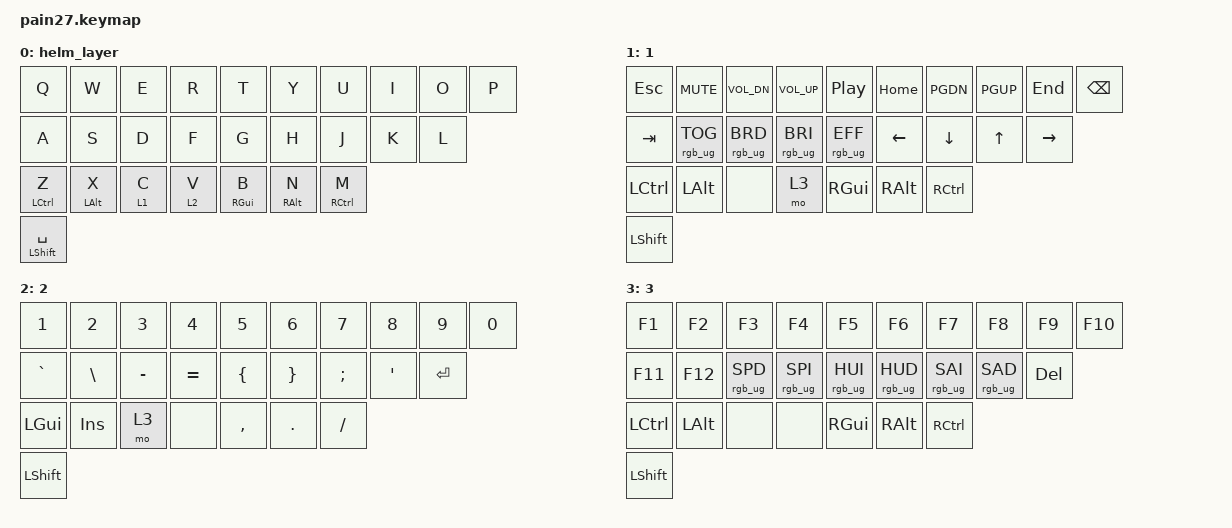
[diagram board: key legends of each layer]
#include "../../../key-labels/27.h"
#include "../../../base.keymap"

#include <dt-bindings/zmk/outputs.h>
#include <dt-bindings/zmk/ext_power.h>
#include <dt-bindings/zmk/rgb.h>

#define LCTRL_Z   &mt LCTRL Z
#define LALT_X    &mt LALT X
#define ONE_C     &lt 1 C
#define TWO_V     &lt 2 V
#define RGUI_B    &mt RGUI B
#define RALT_N    &mt RALT N
#define RCTRL_M   &mt RCTRL M
#define LSHFT_SPC &mt LSHFT SPC
#define ___ &none

ZMK_LAYER(helm_layer,
    &kp Q    &kp W    &kp E    &kp R    &kp T    &kp Y    &kp U    &kp I    &kp O    &kp P
    &kp A    &kp S    &kp D    &kp F    &kp G    &kp H    &kp J    &kp K    &kp L
    LCTRL_Z  LALT_X   ONE_C    TWO_V    RGUI_B   RALT_N   RCTRL_M
    LSHFT_SPC
)

ZMK_LAYER(1,
    &kp ESC   &kp C_MUTE       &kp C_VOL_DN       &kp C_VOL_UP    &kp C_PLAY_PAUSE &kp HOME &kp PGDN  &kp PGUP &kp END   &kp BSPC
    &kp TAB   &rgb_ug RGB_TOG  &rgb_ug RGB_BRD    &rgb_ug RGB_BRI &rgb_ug RGB_EFF &kp LEFT &kp DOWN  &kp UP   &kp RIGHT
    &kp LCTRL &kp LALT         ___                &mo 3           &kp RGUI        &kp RALT &kp RCTRL
    &kp LSHFT
)

ZMK_LAYER(2,
    &kp N1    &kp N2     &kp N3    &kp N4    &kp N5    &kp N6   &kp N7   &kp N8  &kp N9    &kp N0
    &kp GRAVE &kp BSLH   &kp MINUS &kp EQUAL &kp LBRC  &kp RBRC &kp SEMI &kp SQT &kp ENTER
    &kp LGUI  &kp INSERT &mo 3     ___       &kp COMMA &kp DOT  &kp SLASH
    &kp LSHFT
)

ZMK_LAYER(3,
    &kp F1   &kp F2   &kp F3   &kp F4   &kp F5   &kp F6   &kp F7   &kp F8   &kp F9   &kp F10  
    &kp F11  &kp F12  &rgb_ug RGB_SPD &rgb_ug RGB_SPI &rgb_ug RGB_HUI &rgb_ug RGB_HUD &rgb_ug RGB_SAI &rgb_ug RGB_SAD &kp DELETE
    &kp LCTRL &kp LALT ___     ___     &kp RGUI &kp RALT &kp RCTRL
    &kp LSHFT
)

/* vim: set tw=180 ft=dts: */
